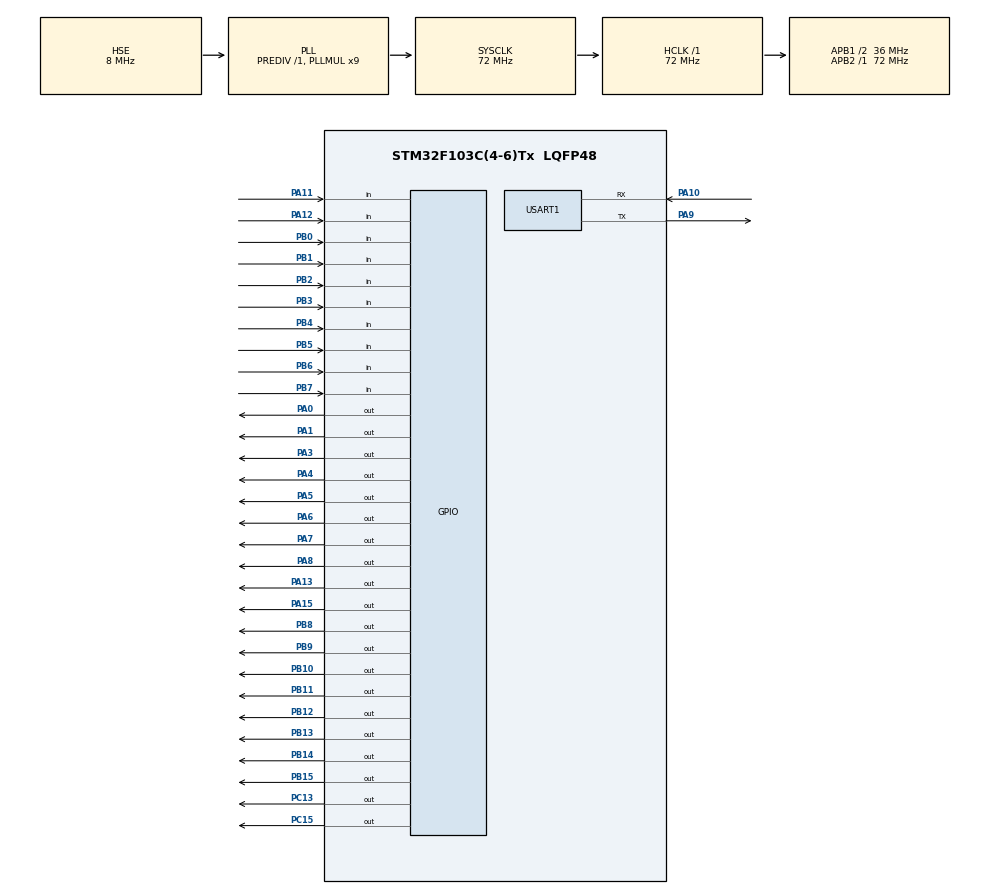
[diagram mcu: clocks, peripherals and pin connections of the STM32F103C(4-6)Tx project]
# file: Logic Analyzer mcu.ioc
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Mcu.Family=STM32F1
Mcu.Name=STM32F103C(4-6)Tx
Mcu.Package=LQFP48
NVIC.PriorityGroup=NVIC_PRIORITYGROUP_4
PA0-WKUP.GPIO_PuPd=GPIO_PULLDOWN
PA0-WKUP.GPIO_Speed=GPIO_SPEED_FREQ_HIGH
PA0-WKUP.Signal=GPIO_Output
PA1.GPIO_PuPd=GPIO_PULLDOWN
PA1.GPIO_Speed=GPIO_SPEED_FREQ_HIGH
PA1.Signal=GPIO_Output
PA10.Mode=Asynchronous
PA10.Signal=USART1_RX
PA11.GPIO_PuPd=GPIO_PULLDOWN
PA11.Signal=GPIO_Input
PA12.GPIO_PuPd=GPIO_PULLDOWN
PA12.Signal=GPIO_Input
PA13.GPIO_PuPd=GPIO_PULLDOWN
PA13.GPIO_Speed=GPIO_SPEED_FREQ_HIGH
PA13.Signal=GPIO_Output
PA15.GPIO_PuPd=GPIO_PULLDOWN
PA15.Signal=GPIO_Output
PA3.GPIO_PuPd=GPIO_PULLDOWN
PA3.GPIO_Speed=GPIO_SPEED_FREQ_HIGH
PA3.Signal=GPIO_Output
PA4.GPIO_PuPd=GPIO_PULLDOWN
PA4.GPIO_Speed=GPIO_SPEED_FREQ_HIGH
PA4.Signal=GPIO_Output
PA5.GPIO_PuPd=GPIO_PULLDOWN
PA5.GPIO_Speed=GPIO_SPEED_FREQ_HIGH
PA5.Signal=GPIO_Output
PA6.GPIO_PuPd=GPIO_PULLDOWN
PA6.GPIO_Speed=GPIO_SPEED_FREQ_HIGH
PA6.Signal=GPIO_Output
PA7.GPIO_PuPd=GPIO_PULLDOWN
PA7.GPIO_Speed=GPIO_SPEED_FREQ_HIGH
PA7.Signal=GPIO_Output
PA8.GPIO_PuPd=GPIO_PULLDOWN
PA8.GPIO_Speed=GPIO_SPEED_FREQ_HIGH
PA8.Signal=GPIO_Output
PA9.Mode=Asynchronous
PA9.Signal=USART1_TX
PB0.GPIO_PuPd=GPIO_PULLDOWN
PB0.Signal=GPIO_Input
PB1.GPIO_PuPd=GPIO_PULLDOWN
PB1.Signal=GPIO_Input
PB10.GPIO_PuPd=GPIO_PULLDOWN
PB10.GPIO_Speed=GPIO_SPEED_FREQ_HIGH
PB10.Signal=GPIO_Output
PB11.GPIO_PuPd=GPIO_PULLDOWN
PB11.GPIO_Speed=GPIO_SPEED_FREQ_HIGH
PB11.Signal=GPIO_Output
PB12.GPIO_PuPd=GPIO_PULLDOWN
PB12.GPIO_Speed=GPIO_SPEED_FREQ_HIGH
PB12.Signal=GPIO_Output
PB13.GPIO_PuPd=GPIO_PULLDOWN
PB13.GPIO_Speed=GPIO_SPEED_FREQ_HIGH
PB13.Signal=GPIO_Output
PB14.GPIO_PuPd=GPIO_PULLDOWN
PB14.GPIO_Speed=GPIO_SPEED_FREQ_HIGH
PB14.Signal=GPIO_Output
PB15.GPIO_PuPd=GPIO_PULLDOWN
PB15.GPIO_Speed=GPIO_SPEED_FREQ_HIGH
PB15.Signal=GPIO_Output
PB2.GPIO_PuPd=GPIO_NOPULL
PB2.Signal=GPIO_Input
PB3.GPIO_PuPd=GPIO_PULLDOWN
PB3.Signal=GPIO_Input
PB4.GPIO_PuPd=GPIO_PULLDOWN
PB4.Signal=GPIO_Input
PB5.GPIO_PuPd=GPIO_PULLDOWN
PB5.Signal=GPIO_Input
PB6.GPIO_PuPd=GPIO_PULLDOWN
PB6.Signal=GPIO_Input
PB7.GPIO_PuPd=GPIO_PULLDOWN
PB7.Signal=GPIO_Input
PB8.GPIO_PuPd=GPIO_PULLDOWN
PB8.GPIO_Speed=GPIO_SPEED_FREQ_HIGH
PB8.Signal=GPIO_Output
PB9.GPIO_PuPd=GPIO_PULLDOWN
PB9.GPIO_Speed=GPIO_SPEED_FREQ_HIGH
PB9.Signal=GPIO_Output
PC13-TAMPER-RTC.GPIO_PuPd=GPIO_PULLDOWN
PC13-TAMPER-RTC.GPIO_Speed=GPIO_SPEED_FREQ_HIGH
PC13-TAMPER-RTC.Signal=GPIO_Output
PC15-OSC32_OUT.GPIO_PuPd=GPIO_PULLDOWN
PC15-OSC32_OUT.GPIO_Speed=GPIO_SPEED_FREQ_HIGH
PC15-OSC32_OUT.Signal=GPIO_Output
PD0-OSC_IN.Mode=HSE-External-Oscillator
PD0-OSC_IN.Signal=RCC_OSC_IN
PD1-OSC_OUT.Mode=HSE-External-Oscillator
PD1-OSC_OUT.Signal=RCC_OSC_OUT
ProjectManager.HeapSize=0x200
ProjectManager.StackSize=0x400
ProjectManager.TargetToolchain=STM32CubeIDE
RCC.AHBFreq_Value=72000000
RCC.APB1CLKDivider=RCC_HCLK_DIV2
RCC.APB1Freq_Value=36000000
RCC.APB1TimFreq_Value=72000000
RCC.APB2Freq_Value=72000000
RCC.APB2TimFreq_Value=72000000
RCC.HCLKFreq_Value=72000000
RCC.PLLMUL=RCC_PLL_MUL9
RCC.PLLSourceVirtual=RCC_PLLSOURCE_HSE
RCC.SYSCLKFreq_VALUE=72000000
RCC.SYSCLKSource=RCC_SYSCLKSOURCE_PLLCLK
RCC.USBFreq_Value=72000000
USART1.VirtualMode=VM_ASYNC
VP_SYS_VS_ND.Mode=No_Debug
board=custom

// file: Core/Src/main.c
/* USER CODE BEGIN Header */
/**
  ******************************************************************************
  * @file           : main.c
  * @brief          : Main program body
  ******************************************************************************
  * @attention
  *
  * <h2><center>&copy; Copyright (c) 2022 STMicroelectronics.
  * All rights reserved.</center></h2>
  *
  * This software component is licensed by ST under BSD 3-Clause license,
  * the "License"; You may not use this file except in compliance with the
  * License. You may obtain a copy of the License at:
  *                        opensource.org/licenses/BSD-3-Clause
  *
  ******************************************************************************
  */
/* USER CODE END Header */
#include "main.h"
#include <stdlib.h>
#include <stdint.h>

/* USER CODE BEGIN PD */
#define	TRANSMITDATA 240

// for port A
#define ENABLE_LATCH 0							// tested OK
#define WRITE_ENABLE 1							// tested OK
#define RESET_COUNTER 15							// tested NOT OK
#define RESET_TRIGGER 3							// tested OK
#define LATCH_PULSE 4							// tested OK
#define TRIGGER_MUX_SELECT 5					// tested OK, values 0 = for edge 1 for = word
#define PULSEIN_DEMUX_SELECT 6					// tested OK, values 0 1 2 3
#define CLOCK_SELECT_CLOCK_IN 8					// tested OK

#define COMPLETE 11
#define TRIGGER_STATUS 12
#define INC 13

// for port B
#define DATA_FROM_MCU 8							// tested

// for port C
#define MASTER_CONTROL 15

/* USER CODE END PD */

UART_HandleTypeDef huart1;

void SystemClock_Config(void);
static void MX_GPIO_Init(void);
static void MX_USART1_UART_Init(void);
/* USER CODE BEGIN PFP */

void latchInPulse(void);
void resetTriggerSignal(void);

/* USER CODE END PFP */

int main(void)
{

  /* MCU Configuration--------------------------------------------------------*/

  /* Reset of all peripherals, Initializes the Flash interface and the Systick. */
  HAL_Init();

  /* Configure the system clock */
  SystemClock_Config();

  /* Initialize all configured peripherals */
  MX_GPIO_Init();
  MX_USART1_UART_Init();
  /* USER CODE BEGIN 2 */

  // stores received command from PC software
  uint8_t receivedWord = 0;
  // operatingMode defines if it's communicating with logic analyzer software or acquiring data
  // 0  is for communicating with logic analyzer software to configure trigger and sample rates

  uint8_t ConfigTrigger = 0x01, ReadyToRx = 2, AckFromRx = 255;
  uint8_t sampleReady = 245, chunkReceiveAck =242, sampleTransmitComplete = 243, ackFromTx = 244;

  uint8_t READY_TO_TX_SAMPLE_RATE = 0x03;
  uint8_t READY_TO_TX_SAMPLE_SIZE = 0x04;

  volatile uint8_t operatingMode = 0;										// defines if it's communicating or reading samples

  volatile uint8_t triggerType = 0, triggerMask = 0, triggerWord = 0, sampleRateIndex = 2, sampleSizeIndex = 3;
  volatile uint8_t tempData = 0;
  volatile uint16_t blockTransferSize = 32;   	                           	// default number due to default sample size 3
  uint8_t samplePtr[256];

  GPIOC->ODR &=  ~(1<<13);
//  GPIOC->ODR |= 1<<13;

  HAL_Delay(5000);															// LETTING THE FPGA TO START
  HAL_GPIO_TogglePin(GPIOC, GPIO_PIN_13);
  // initializing FPGA

  // making sure that FPGA is not clocked
  GPIOC->ODR &= ~(1<<MASTER_CONTROL);

  // making sure that input latch are disabled
  GPIOA->ODR &= ~1;

  // setting default clock rate
  GPIOB->ODR = 2<<DATA_FROM_MCU;
  GPIOA->ODR |= 1<<CLOCK_SELECT_CLOCK_IN;
  HAL_Delay(1);
  GPIOA->ODR &= ~(1<<CLOCK_SELECT_CLOCK_IN);

  // setting default sample size
  GPIOB->ODR = 0b00011111<<DATA_FROM_MCU;
  GPIOA->ODR &= ~(3<<PULSEIN_DEMUX_SELECT);
  latchInPulse();

  GPIOB->ODR = 0b11111111<<DATA_FROM_MCU;
  GPIOA->ODR &= ~(3<<PULSEIN_DEMUX_SELECT);
  GPIOA->ODR |= 1<<PULSEIN_DEMUX_SELECT;
  latchInPulse();

  // IF TRIGGER STATUS IS SET FOR SOME REASON RESET IT
  resetTriggerSignal();

  //RESET counter
  // resets on rising edge can be set to low when starting sampling process
  GPIOA->ODR |= 1<<RESET_COUNTER;
  HAL_Delay(1);
  GPIOA->ODR &= ~(1<<RESET_COUNTER);

  /* USER CODE END 2 */

  /* Infinite loop */
  /* USER CODE BEGIN WHILE */
  while (1)
  {
	  // communicate with software mode
	  if(operatingMode == 0){

		  HAL_UART_Receive(&huart1, &receivedWord, 1, HAL_MAX_DELAY);
		  tempData = receivedWord;

		  if(tempData == (uint8_t)TRANSMITDATA) operatingMode = 1;

		  //	if trigger setting is received then
		  else if(tempData == ConfigTrigger){
			  HAL_UART_Transmit(&huart1, &ReadyToRx, 1, HAL_MAX_DELAY);
			  // receive the trigger type
			  HAL_UART_Receive(&huart1, &receivedWord, 1, HAL_MAX_DELAY);
			  triggerType = receivedWord;

			  if(triggerType == 0){
				  // no trigger
				  // the no trigger should be handler in other section
				  HAL_UART_Transmit(&huart1, &AckFromRx, 1, 100);
				  HAL_Delay(10);
				  GPIOC->ODR &=  ~(1<<13);
			  }

			  else if(triggerType == 1){
				  // this is edge trigger
				  HAL_UART_Transmit(&huart1,  &AckFromRx, 1, 100);
				  HAL_Delay(10);
				  HAL_UART_Receive(&huart1, &receivedWord, 1, HAL_MAX_DELAY);
				  triggerMask = receivedWord;
				  HAL_UART_Transmit(&huart1, &AckFromRx, 1, 100);
				  HAL_Delay(5);
				  HAL_UART_Receive(&huart1, &receivedWord, 1, HAL_MAX_DELAY);
				  triggerWord = ~receivedWord;														// this inversion is necessary look at xor truth table
				  HAL_UART_Transmit(&huart1,  &AckFromRx, 1, 100);
				  HAL_Delay(1);

				  GPIOA->ODR &= ~(1<<TRIGGER_MUX_SELECT);
				  if((triggerWord == 0X0f)&&(triggerMask == 0x0f)) GPIOC->ODR &=  ~(1<<13);			// just to validate if correct data is transmitted
			  }

			  else if(triggerType == 2){
				  // this is word trigger
				  HAL_UART_Transmit(&huart1, &AckFromRx, 1, 100);
				  HAL_Delay(10);
				  HAL_UART_Receive(&huart1, &receivedWord, 1, HAL_MAX_DELAY);
				  triggerWord = receivedWord;														// this inversion is necessary look at xor truth table
				  HAL_UART_Transmit(&huart1,  &AckFromRx, 1, 100);
				  HAL_Delay(1);

				  triggerMask = 0XFF;

				  GPIOA->ODR |= (1<<TRIGGER_MUX_SELECT);

				  if(triggerWord == 0X0f) GPIOC->ODR &=  ~(1<<13);			// JUST FOR TEST
			  }

			  // since no trigger is handled in different way
			  // makes use of same code block for both edge and word trigger
			  if(triggerType != 0){
				  // SETTING THE MASK REGISTER IN TRIGGER MODULE
				  GPIOA->ODR &= ~(3<<PULSEIN_DEMUX_SELECT);
				  GPIOA->ODR |= 2<<PULSEIN_DEMUX_SELECT;
				  GPIOB->ODR = triggerMask<<DATA_FROM_MCU;
				  latchInPulse();

				  // SETTING THE WORD REGISTER IN TRIGGER MODULE
				  GPIOA->ODR &= ~(3<<PULSEIN_DEMUX_SELECT);
				  GPIOA->ODR |= 3<<PULSEIN_DEMUX_SELECT;
				  GPIOB->ODR = triggerWord<<DATA_FROM_MCU;
				  latchInPulse();

				  resetTriggerSignal();
			  }
		  }

		  // setting sample rate // tested
		  else if(tempData == READY_TO_TX_SAMPLE_RATE){
			  HAL_UART_Transmit(&huart1, &ReadyToRx, 1, 100);
			  HAL_Delay(10);
			  HAL_UART_Receive(&huart1, &receivedWord, 1, HAL_MAX_DELAY);
			  sampleRateIndex = receivedWord;
			  HAL_UART_Transmit(&huart1, &AckFromRx, 1, 100);
			  HAL_Delay(1);

			  switch (sampleRateIndex){
			  	  case 0:
			  		  GPIOB->ODR = 0<<DATA_FROM_MCU;
			  		  break;
			  	  case 1:
			  		  GPIOB->ODR = 1<<DATA_FROM_MCU;
			  		  break;
			  	  case 2:
			  		  GPIOB->ODR = 2<<DATA_FROM_MCU;
			  		  break;
			  	  case 3:
			  		  GPIOB->ODR = 3<<DATA_FROM_MCU;
			  		  break;
			  	  default:
			  		  GPIOB->ODR = 4<<DATA_FROM_MCU;

			  }

			  GPIOA->ODR |= 1<<CLOCK_SELECT_CLOCK_IN;
			  HAL_Delay(1);
			  GPIOA->ODR &= ~(1<<CLOCK_SELECT_CLOCK_IN);

			  if (sampleRateIndex == 0) GPIOC->ODR &=  ~(1<<13);			// JUST FOR TEST
		  }

		  // setting sample size //tested
		  else if(tempData == READY_TO_TX_SAMPLE_SIZE){
			  HAL_UART_Transmit(&huart1, &ReadyToRx, 1, 100);
			  HAL_Delay(10);
			  HAL_UART_Receive(&huart1, &receivedWord, 1, HAL_MAX_DELAY);
			  sampleSizeIndex = receivedWord;
			  HAL_UART_Transmit(&huart1, &AckFromRx, 1, 100);
			  HAL_Delay(1);

			  // setting compare address msb
			  switch(sampleSizeIndex){
			  	  case 0:
			  		  GPIOB->ODR = 0b00000011<<DATA_FROM_MCU;
			  		  blockTransferSize = 4;
			  		  break;
			  	  case 1:
			  		  GPIOB->ODR = 0b00000111<<DATA_FROM_MCU;
			  		  blockTransferSize = 8;
			  		  break;
			  	  case 2:
			  		  GPIOB->ODR = 0b00001111<<DATA_FROM_MCU;
			  		  blockTransferSize = 16;
			  		  break;
			  	  case 3:
			  		  GPIOB->ODR = 0b00011111<<DATA_FROM_MCU;
			  		  blockTransferSize = 32;
			  		  break;
			  	  case 4:
			  		  GPIOB->ODR = 0b00111111<<DATA_FROM_MCU;
			  		  blockTransferSize = 64;
			  		  break;
			  	  case 5:
			  		  GPIOB->ODR = 0b01111111<<DATA_FROM_MCU;
			  		  blockTransferSize = 128;
			  		  break;
			  	  default:
			  		  GPIOB->ODR = 0b11111111<<DATA_FROM_MCU;
			  		  blockTransferSize = 256;
			  }

			  GPIOA->ODR &= ~(3<<PULSEIN_DEMUX_SELECT);
			  latchInPulse();

			  // does not need this as lsb value does not need to change
			  // setting compare address lsb
//			  GPIOB->ODR = 0b11111111<<DATA_FROM_MCU;
//
//			  GPIOA->ODR &= ~(3<<PULSEIN_DEMUX_SELECT);
//			  GPIOA->ODR |= 1<<PULSEIN_DEMUX_SELECT;
//			  latchInPulse();

			  if (sampleSizeIndex == 1) GPIOC->ODR &=  ~(1<<13);			// JUST FOR TEST
		  }

		  tempData = 0x00;
	  }

	  // read acquire data mode
	  else if(operatingMode == 1){
		  // uncomment this section for final firmware
		  HAL_GPIO_TogglePin(GPIOC, GPIO_PIN_13);

		  if(triggerType == 0){
			  // set the trigger signal
			  if(! (GPIOA->IDR & (1<<TRIGGER_STATUS)) ){
				GPIOA->ODR |= 1<<RESET_TRIGGER;
				HAL_Delay(1);
				GPIOA->ODR &= ~(1<<RESET_TRIGGER);
			  }
		  }else{
			  // reset the trigger signal
			  resetTriggerSignal();
		  }

		  // reseting counter to 0 to start counting at 0 address
		  GPIOA->ODR |= 1<<RESET_COUNTER;
		  HAL_Delay(1);
		  GPIOA->ODR &= ~(1<<RESET_COUNTER);

		  GPIOA->ODR |= (1<<ENABLE_LATCH) | (1<<WRITE_ENABLE);		// enable latch and enables write operation
		  GPIOC->ODR |= 1<<MASTER_CONTROL;

		  // poll until complete signal enabled
		  while(! (GPIOA->IDR & (1<<COMPLETE)) );
		  HAL_GPIO_TogglePin(GPIOC, GPIO_PIN_13);

		  GPIOA->ODR &= ~( (1<<WRITE_ENABLE) | (1<<ENABLE_LATCH) ); // putting it into read mode
		  GPIOC->ODR &= ~(1<<MASTER_CONTROL);

		  HAL_UART_Transmit(&huart1, &sampleReady, 1, 100);
		  HAL_UART_Receive(&huart1, &receivedWord, 1, HAL_MAX_DELAY);

		  GPIOA->ODR |= ( 1<<INC );
		  GPIOA->ODR |= ( 1<<RESET_COUNTER );
		  HAL_Delay(1);
		  GPIOA->ODR &= ~(1<<RESET_COUNTER);
		  GPIOA->ODR &= ~(1<<INC);

		  for(int i = 0; i<blockTransferSize; i++){

			  for(int j = 0; j < 256; j++){
				 samplePtr[j] = (GPIOB->IDR) & 0xFF;										// reading values
				 GPIOA->ODR |= (1<<INC);
				 GPIOA->ODR |= (1<<INC);
				 GPIOA->ODR &= ~(1<<INC);
			  }

			  HAL_UART_Transmit(&huart1, samplePtr, 256, HAL_MAX_DELAY);
			  HAL_UART_Receive(&huart1, &receivedWord, 1, HAL_MAX_DELAY);
		  }

		  // test signal section
		  // creating test data
//		  GPIOC->ODR |=  (1<<13);
//		  for(int i=0 ; i < 256; i++){
//			  HAL_GPIO_TogglePin(GPIOC, GPIO_PIN_13);
//			  samplePtr[i] = i;
//		  }
//		 GPIOC->ODR &=  ~(1<<13);
//		 HAL_UART_Transmit(&huart1, &sampleReady, 1, 100);               // had 1 second delay
//		 HAL_UART_Receive(&huart1, &receivedWord, 1, HAL_MAX_DELAY);
//
//		 for(int i = 0; i<blockTransferSize; i++){
//			GPIOC->ODR |=  (1<<13);
//		  	HAL_UART_Transmit(&huart1, samplePtr, 256, HAL_MAX_DELAY);
//		  	HAL_Delay(1);                                     // was 10
//		  	GPIOC->ODR &=  ~(1<<13);
//		  	HAL_UART_Receive(&huart1, &receivedWord, 1, HAL_MAX_DELAY);
//		  	HAL_Delay(1);
//		  }
//		 GPIOC->ODR |=  (1<<13);
//		 HAL_Delay(1);

		  HAL_UART_Transmit(&huart1, &sampleTransmitComplete, 1, 100);
		  resetTriggerSignal();
		  operatingMode = 0;
	  }

  }
  /* USER CODE END 3 */
}

void latchInPulse(){
	 GPIOA->ODR |= 1<<LATCH_PULSE;
	 HAL_Delay(1);
	 GPIOA->ODR &= ~(1<<LATCH_PULSE);
}

void resetTriggerSignal(){
	if(GPIOA->IDR & (1<<TRIGGER_STATUS)){
		 GPIOA->ODR |= 1<<RESET_TRIGGER;
		 HAL_Delay(1);
		 GPIOA->ODR &= ~(1<<RESET_TRIGGER);
	 }
}

void SystemClock_Config(void)
{
  RCC_OscInitTypeDef RCC_OscInitStruct = {0};
  RCC_ClkInitTypeDef RCC_ClkInitStruct = {0};

  /** Initializes the RCC Oscillators according to the specified parameters
  * in the RCC_OscInitTypeDef structure.
  */
  RCC_OscInitStruct.OscillatorType = RCC_OSCILLATORTYPE_HSE;
  RCC_OscInitStruct.HSEState = RCC_HSE_ON;
  RCC_OscInitStruct.HSEPredivValue = RCC_HSE_PREDIV_DIV1;
  RCC_OscInitStruct.HSIState = RCC_HSI_ON;
  RCC_OscInitStruct.PLL.PLLState = RCC_PLL_ON;
  RCC_OscInitStruct.PLL.PLLSource = RCC_PLLSOURCE_HSE;
  RCC_OscInitStruct.PLL.PLLMUL = RCC_PLL_MUL9;
  if (HAL_RCC_OscConfig(&RCC_OscInitStruct) != HAL_OK)
  {
    Error_Handler();
  }
  /** Initializes the CPU, AHB and APB buses clocks
  */
  RCC_ClkInitStruct.ClockType = RCC_CLOCKTYPE_HCLK|RCC_CLOCKTYPE_SYSCLK
                              |RCC_CLOCKTYPE_PCLK1|RCC_CLOCKTYPE_PCLK2;
  RCC_ClkInitStruct.SYSCLKSource = RCC_SYSCLKSOURCE_PLLCLK;
  RCC_ClkInitStruct.AHBCLKDivider = RCC_SYSCLK_DIV1;
  RCC_ClkInitStruct.APB1CLKDivider = RCC_HCLK_DIV2;
  RCC_ClkInitStruct.APB2CLKDivider = RCC_HCLK_DIV1;

  if (HAL_RCC_ClockConfig(&RCC_ClkInitStruct, FLASH_LATENCY_2) != HAL_OK)
  {
    Error_Handler();
  }
}

static void MX_USART1_UART_Init(void)
{

  huart1.Instance = USART1;
  huart1.Init.BaudRate = 115200;
  huart1.Init.WordLength = UART_WORDLENGTH_8B;
  huart1.Init.StopBits = UART_STOPBITS_1;
  huart1.Init.Parity = UART_PARITY_NONE;
  huart1.Init.Mode = UART_MODE_TX_RX;
  huart1.Init.HwFlowCtl = UART_HWCONTROL_NONE;
  huart1.Init.OverSampling = UART_OVERSAMPLING_16;
  if (HAL_UART_Init(&huart1) != HAL_OK)
  {
    Error_Handler();
  }

}

static void MX_GPIO_Init(void)
{
  GPIO_InitTypeDef GPIO_InitStruct = {0};

  /* GPIO Ports Clock Enable */
  __HAL_RCC_GPIOC_CLK_ENABLE();
  __HAL_RCC_GPIOD_CLK_ENABLE();
  __HAL_RCC_GPIOA_CLK_ENABLE();
  __HAL_RCC_GPIOB_CLK_ENABLE();

  /*Configure GPIO pin Output Level */
  HAL_GPIO_WritePin(GPIOC, GPIO_PIN_13|GPIO_PIN_15, GPIO_PIN_RESET);

  /*Configure GPIO pin Output Level */
  HAL_GPIO_WritePin(GPIOA, GPIO_PIN_0|GPIO_PIN_1|GPIO_PIN_3|GPIO_PIN_4
                          |GPIO_PIN_5|GPIO_PIN_6|GPIO_PIN_7|GPIO_PIN_8
                          |GPIO_PIN_13|GPIO_PIN_15, GPIO_PIN_RESET);

  /*Configure GPIO pin Output Level */
  HAL_GPIO_WritePin(GPIOB, GPIO_PIN_10|GPIO_PIN_11|GPIO_PIN_12|GPIO_PIN_13
                          |GPIO_PIN_14|GPIO_PIN_15|GPIO_PIN_8|GPIO_PIN_9, GPIO_PIN_RESET);

  /*Configure GPIO pins : PC13 PC15 */
  GPIO_InitStruct.Pin = GPIO_PIN_13|GPIO_PIN_15;
  GPIO_InitStruct.Mode = GPIO_MODE_OUTPUT_PP;
  GPIO_InitStruct.Pull = GPIO_PULLDOWN;
  GPIO_InitStruct.Speed = GPIO_SPEED_FREQ_HIGH;
  HAL_GPIO_Init(GPIOC, &GPIO_InitStruct);

  /*Configure GPIO pins : PA0 PA1 PA3 PA4
                           PA5 PA6 PA7 PA8
                           PA13 */
  GPIO_InitStruct.Pin = GPIO_PIN_0|GPIO_PIN_1|GPIO_PIN_3|GPIO_PIN_4
                          |GPIO_PIN_5|GPIO_PIN_6|GPIO_PIN_7|GPIO_PIN_8
                          |GPIO_PIN_13;
  GPIO_InitStruct.Mode = GPIO_MODE_OUTPUT_PP;
  GPIO_InitStruct.Pull = GPIO_PULLDOWN;
  GPIO_InitStruct.Speed = GPIO_SPEED_FREQ_HIGH;
  HAL_GPIO_Init(GPIOA, &GPIO_InitStruct);

  /*Configure GPIO pins : PB0 PB1 PB3 PB4
                           PB5 PB6 PB7 */
  GPIO_InitStruct.Pin = GPIO_PIN_0|GPIO_PIN_1|GPIO_PIN_3|GPIO_PIN_4
                          |GPIO_PIN_5|GPIO_PIN_6|GPIO_PIN_7;
  GPIO_InitStruct.Mode = GPIO_MODE_INPUT;
  GPIO_InitStruct.Pull = GPIO_PULLDOWN;
  HAL_GPIO_Init(GPIOB, &GPIO_InitStruct);

  /*Configure GPIO pin : PB2 */
  GPIO_InitStruct.Pin = GPIO_PIN_2;
  GPIO_InitStruct.Mode = GPIO_MODE_INPUT;
  GPIO_InitStruct.Pull = GPIO_NOPULL;
  HAL_GPIO_Init(GPIOB, &GPIO_InitStruct);

  /*Configure GPIO pins : PB10 PB11 PB12 PB13
                           PB14 PB15 PB8 PB9 */
  GPIO_InitStruct.Pin = GPIO_PIN_10|GPIO_PIN_11|GPIO_PIN_12|GPIO_PIN_13
                          |GPIO_PIN_14|GPIO_PIN_15|GPIO_PIN_8|GPIO_PIN_9;
  GPIO_InitStruct.Mode = GPIO_MODE_OUTPUT_PP;
  GPIO_InitStruct.Pull = GPIO_PULLDOWN;
  GPIO_InitStruct.Speed = GPIO_SPEED_FREQ_HIGH;
  HAL_GPIO_Init(GPIOB, &GPIO_InitStruct);

  /*Configure GPIO pins : PA11 PA12 */
  GPIO_InitStruct.Pin = GPIO_PIN_11|GPIO_PIN_12;
  GPIO_InitStruct.Mode = GPIO_MODE_INPUT;
  GPIO_InitStruct.Pull = GPIO_PULLDOWN;
  HAL_GPIO_Init(GPIOA, &GPIO_InitStruct);

  /*Configure GPIO pin : PA15 */
  GPIO_InitStruct.Pin = GPIO_PIN_15;
  GPIO_InitStruct.Mode = GPIO_MODE_OUTPUT_PP;
  GPIO_InitStruct.Pull = GPIO_PULLDOWN;
  GPIO_InitStruct.Speed = GPIO_SPEED_FREQ_LOW;
  HAL_GPIO_Init(GPIOA, &GPIO_InitStruct);

}

void Error_Handler(void)
{
  __disable_irq();
  while (1)
  {
  }
}

/************************ (C) COPYRIGHT STMicroelectronics *****END OF FILE****/
